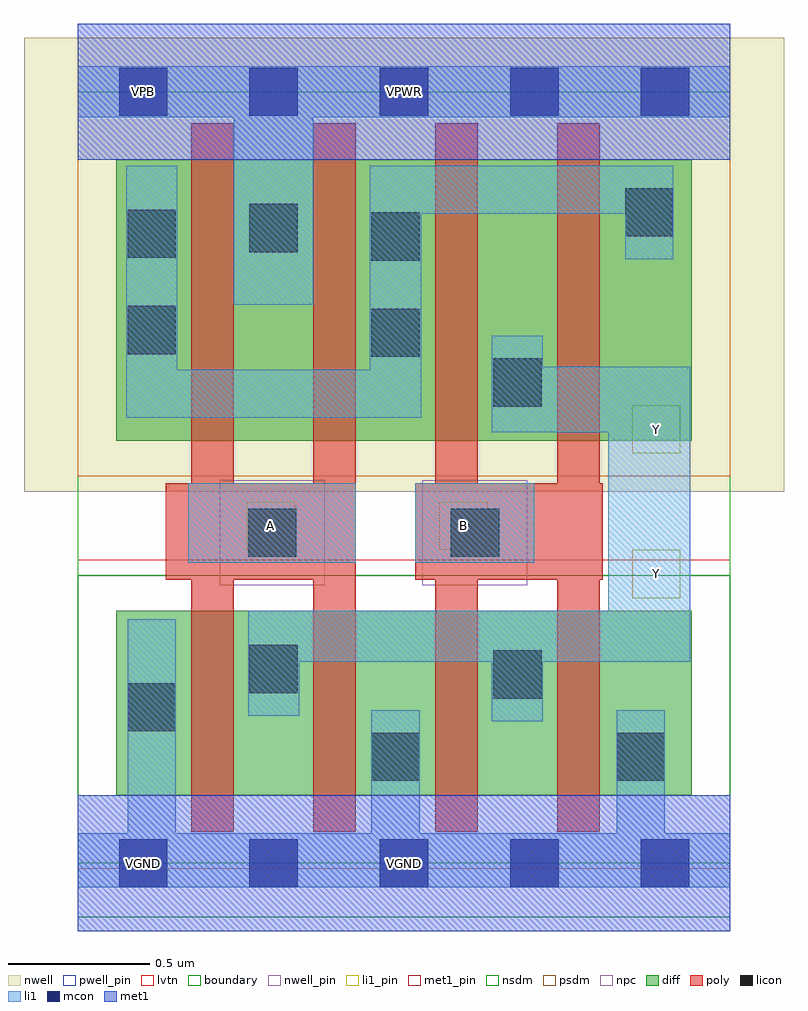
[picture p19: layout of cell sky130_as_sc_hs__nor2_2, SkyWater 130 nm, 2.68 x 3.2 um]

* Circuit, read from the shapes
.subckt sky130_as_sc_hs__nor2_2 A B VGND VNB VPB VPWR Y
XM1 Y A VGND VNB sky130_fd_pr__nfet_01v8_lvt w=0.65 l=0.15 m=2
XM2 Y B VGND VNB sky130_fd_pr__nfet_01v8_lvt w=0.65 l=0.15 m=2
XM3 VPWR A n1 VPB sky130_fd_pr__pfet_01v8 w=0.99 l=0.15 m=2
XM4 Y B n1 VPB sky130_fd_pr__pfet_01v8 w=0.99 l=0.15 m=2
.ends

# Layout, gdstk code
import gdstk
lib = gdstk.Library(unit=1e-6, precision=1e-09)
def R(c, l, rs):  # rectangles x0, y0, x1, y1
    for r in rs: c.add(gdstk.rectangle(r[:2], r[2:], *l))
def A(c, l, x, y, w, h, nx, ny, dx, dy):  # array of equal rectangles
    R(c, l, [(x+i*dx, y+j*dy, x+i*dx+w, y+j*dy+h) for i in range(nx) for j in range(ny)])
nwell_pin = (64, 16)
nwell = (64, 20)
diff = (65, 20)
poly = (66, 20)
licon = (66, 44)
li1_pin = (67, 16)
li1 = (67, 20)
mcon = (67, 44)
met1_pin = (68, 16)
met1 = (68, 20)
nsdm = (93, 44)
psdm = (94, 20)
npc = (95, 20)
pwell_pin = (122, 16)
lvtn = (125, 44)
boundary = (235, 4)

sky130_as_sc_hs__nor2_2 = lib.new_cell('sky130_as_sc_hs__nor2_2')
R(sky130_as_sc_hs__nor2_2, nwell_pin, [(0.145,2.635,0.315,2.805)])
R(sky130_as_sc_hs__nor2_2, nwell, [(-0.19,1.31,2.49,2.91)])
R(sky130_as_sc_hs__nor2_2, diff, [(0.135,0.24,2.165,0.89), (0.135,1.49,2.165,2.48)])
A(sky130_as_sc_hs__nor2_2, poly, 0.4, 0.11, 0.15, 0.89, 4, 1, 0.43, 0)
A(sky130_as_sc_hs__nor2_2, poly, 0.4, 1.34, 0.15, 1.27, 4, 1, 0.43, 0)
R(sky130_as_sc_hs__nor2_2, poly, [(0.31,1,0.98,1.34), (1.19,1,1.85,1.34)])
R(sky130_as_sc_hs__nor2_2, licon, [(1.035,0.29,1.205,0.46), (1.9,0.29,2.07,0.46), (0.175,0.465,0.345,0.635), (1.465,0.58,1.635,0.75), (0.605,0.6,0.775,0.77), (0.6,1.08,0.77,1.25), (1.315,1.08,1.485,1.25), (1.465,1.61,1.635,1.78), (1.035,1.785,1.205,1.955), (0.175,1.795,0.345,1.965), (1.035,2.125,1.205,2.295), (0.175,2.135,0.345,2.305), (0.605,2.155,0.775,2.325), (1.93,2.21,2.1,2.38)])
R(sky130_as_sc_hs__nor2_2, li1_pin, [(1.955,0.935,2.125,1.105), (0.595,1.105,0.765,1.275), (1.275,1.105,1.445,1.275), (1.955,1.445,2.125,1.615)])
R(sky130_as_sc_hs__nor2_2, li1, [(0,-0.085,2.3,0.105), (0.175,0.105,0.345,0.86), (1.035,0.105,1.205,0.54), (1.9,0.105,2.07,0.54), (1.46,0.5,1.64,0.71), (0.6,0.52,0.78,0.71), (0.6,0.71,2.16,0.89), (1.87,0.89,2.16,1.52), (0.39,1.06,0.98,1.34), (1.19,1.06,1.61,1.34), (1.46,1.52,2.16,1.75), (0.17,1.57,1.21,1.74), (0.17,1.74,0.35,2.46), (1.03,1.74,1.21,2.29), (1.46,1.75,1.64,1.86), (0.55,1.97,0.83,2.63), (1.93,2.13,2.1,2.29), (1.03,2.29,2.1,2.46), (0,2.63,2.3,2.81)])
A(sky130_as_sc_hs__nor2_2, mcon, 0.145, -0.085, 0.17, 0.17, 5, 2, 0.46, 2.72)
R(sky130_as_sc_hs__nor2_2, met1_pin, [(0,-0.24,2.3,0.24), (0.145,-0.085,0.315,0.085), (0,2.48,2.3,2.96), (0.145,2.635,0.315,2.805)])
R(sky130_as_sc_hs__nor2_2, met1, [(0,-0.24,2.3,0.24), (0,2.48,2.3,2.96)])
R(sky130_as_sc_hs__nor2_2, nsdm, [(0,-0.19,2.3,1.015)])
R(sky130_as_sc_hs__nor2_2, psdm, [(0,1.365,2.3,2.91)])
R(sky130_as_sc_hs__nor2_2, npc, [(0.5,0.98,0.87,1.35), (1.215,0.98,1.585,1.35)])
R(sky130_as_sc_hs__nor2_2, pwell_pin, [(0.145,-0.085,0.315,0.085)])
R(sky130_as_sc_hs__nor2_2, lvtn, [(0,-0.02,2.3,1.07)])
R(sky130_as_sc_hs__nor2_2, boundary, [(0,0,2.3,2.72)])
sky130_as_sc_hs__nor2_2.add(gdstk.Label('VPB', (0.23,2.72), layer=64, texttype=5))
sky130_as_sc_hs__nor2_2.add(gdstk.Label('VPB', (0.23,2.72), layer=64, texttype=5))
sky130_as_sc_hs__nor2_2.add(gdstk.Label('VGND', (0.23,0), layer=68, texttype=5))
sky130_as_sc_hs__nor2_2.add(gdstk.Label('VGND', (1.15,0), layer=68, texttype=5))
sky130_as_sc_hs__nor2_2.add(gdstk.Label('VPWR', (0.23,2.72), layer=68, texttype=5))
sky130_as_sc_hs__nor2_2.add(gdstk.Label('VPWR', (1.15,2.72), layer=68, texttype=5))
sky130_as_sc_hs__nor2_2.add(gdstk.Label('VNB', (0.23,0), layer=64, texttype=59))
sky130_as_sc_hs__nor2_2.add(gdstk.Label('VNB', (0.23,0), layer=64, texttype=59))
sky130_as_sc_hs__nor2_2.add(gdstk.Label('Y', (2.04,1.02), layer=67, texttype=5))
sky130_as_sc_hs__nor2_2.add(gdstk.Label('Y', (2.04,1.02), layer=67, texttype=5))
sky130_as_sc_hs__nor2_2.add(gdstk.Label('Y', (2.04,1.53), layer=67, texttype=5))
sky130_as_sc_hs__nor2_2.add(gdstk.Label('Y', (2.04,1.53), layer=67, texttype=5))
sky130_as_sc_hs__nor2_2.add(gdstk.Label('B', (1.36,1.19), layer=67, texttype=5))
sky130_as_sc_hs__nor2_2.add(gdstk.Label('B', (1.36,1.19), layer=67, texttype=5))
sky130_as_sc_hs__nor2_2.add(gdstk.Label('A', (0.68,1.19), layer=67, texttype=5))
sky130_as_sc_hs__nor2_2.add(gdstk.Label('A', (0.68,1.19), layer=67, texttype=5))

lib.write_gds('sky130_as_sc_hs__nor2_2.gds')
